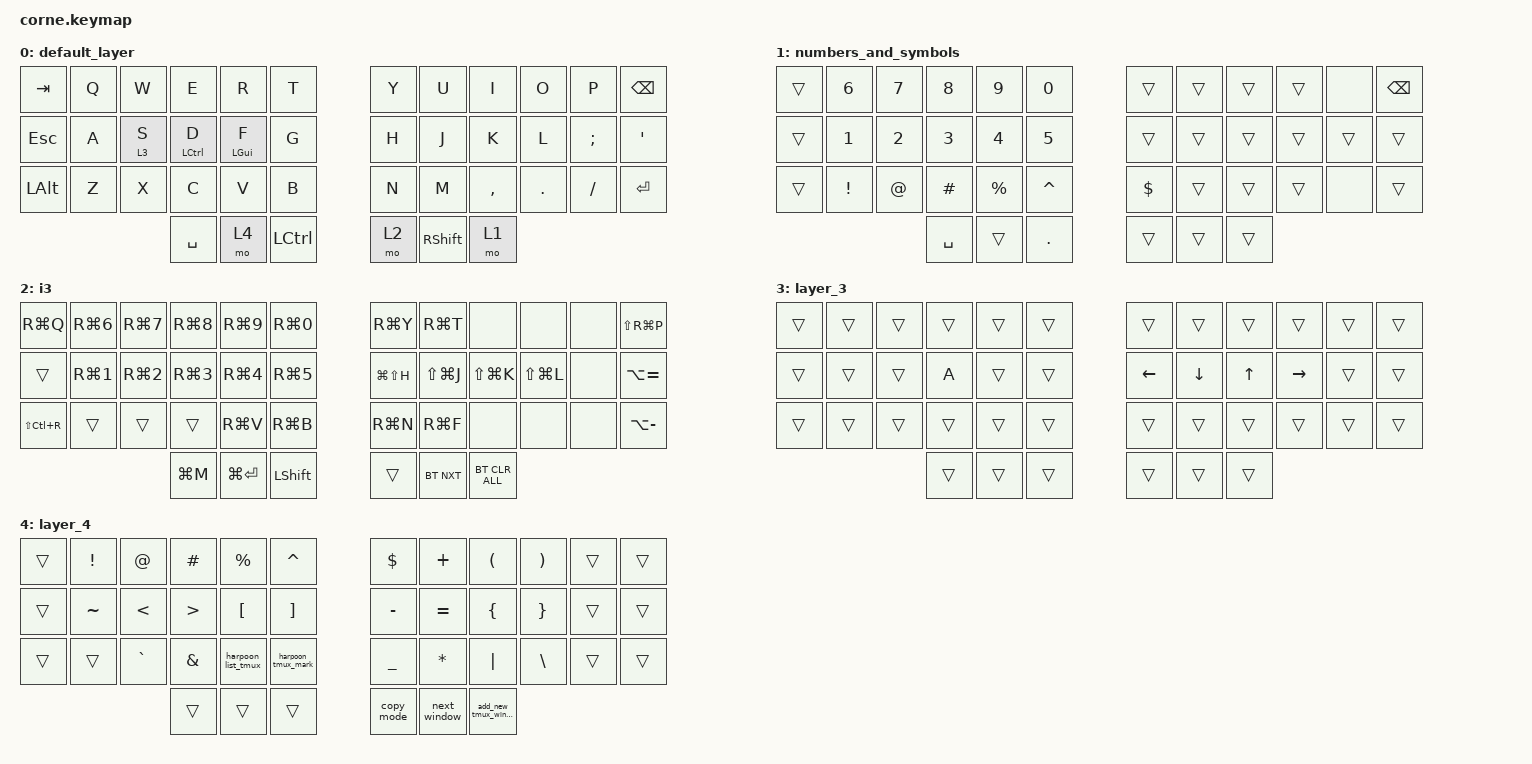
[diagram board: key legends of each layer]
/*
 * Copyright (c) 2020 The ZMK Contributors
 *
 * SPDX-License-Identifier: MIT
 */

#include <behaviors.dtsi>
#include <dt-bindings/zmk/bt.h>
#include <dt-bindings/zmk/keys.h>

&lt {
    tapping-term-ms = <280>;
    hold-trigger-key-positions = <18 19 20 21>;
    flavor = "tap-preferred";
};

&mt {
    tapping-term-ms = <280>;
    hold-trigger-key-positions = <18 19 20 21>;
    flavor = "tap-preferred";
};

/ {
    macros {
        copy_mode: copy_mode {
            compatible = "zmk,behavior-macro";
            #binding-cells = <0>;
            bindings = <&kp LC(A) &kp LEFT_BRACKET>;
        };

        add_new_tmux_window: add_new_tmux_window {
            compatible = "zmk,behavior-macro";
            #binding-cells = <0>;
            bindings = <&kp LC(A) &kp C>;
        };

        next_window: next_window {
            compatible = "zmk,behavior-macro";
            #binding-cells = <0>;
            bindings = <&kp LC(A) &kp N>;
        };

        harpoon_list_tmux: harpoon_list_tmux {
            compatible = "zmk,behavior-macro";
            #binding-cells = <0>;
            bindings = <&kp LC(A) &kp H>;
        };

        harpoon_tmux_mark: harpoon_tmux_mark {
            compatible = "zmk,behavior-macro";
            #binding-cells = <0>;
            bindings = <&kp LC(A) &kp M>;
        };
    };

    keymap {
        compatible = "zmk,keymap";

        default_layer {
            // -----------------------------------------------------------------------------------------
            // |  TAB |  Q  |  W  |  E  |  R  |  T  |   |  Y  |  U   |  I  |  O  |  P  | BSPC |
            // | CTRL |  A  |  S  |  D  |  F  |  G  |   |  H  |  J   |  K  |  L  |  ;  |  '   |
            // | SHFT |  Z  |  X  |  C  |  V  |  B  |   |  N  |  M   |  ,  |  .  |  /  | ESC  |
            //                    | GUI | LWR | SPC |   | ENT | RSE  | ALT |

            bindings = <
&kp TAB       &kp Q  &kp W    &kp E               &kp R           &kp T               &kp Y  &kp U            &kp I      &kp O    &kp P     &kp BSPC
&kp ESCAPE    &kp A  &lt 3 S  &mt LEFT_CONTROL D  &mt LEFT_GUI F  &kp G               &kp H  &kp J            &kp K      &kp L    &kp SEMI  &kp SQT
&kp LEFT_ALT  &kp Z  &kp X    &kp C               &kp V           &kp B               &kp N  &kp M            &kp COMMA  &kp DOT  &kp FSLH  &kp ENTER
                              &kp SPACE           &mo 4           &kp LEFT_CONTROL    &mo 2  &kp RIGHT_SHIFT  &mo 1
            >;
        };

        numbers_and_symbols {
            // -----------------------------------------------------------------------------------------
            // |  TAB |  1  |  2  |  3  |  4  |  5  |   |  6  |  7  |  8  |  9  |  0  | BSPC |
            // | BTCLR| BT1 | BT2 | BT3 | BT4 | BT5 |   | LFT | DWN |  UP | RGT |     |      |
            // | SHFT |     |     |     |     |     |   |     |     |     |     |     |      |
            //                    | GUI |     | SPC |   | ENT |     | ALT |

            bindings = <
&trans  &kp NUMBER_6     &kp NUMBER_7  &kp NUMBER_8  &kp NUMBER_9  &kp NUMBER_0    &trans      &trans  &trans  &trans  &none   &kp BSPC
&trans  &kp NUMBER_1     &kp NUMBER_2  &kp NUMBER_3  &kp NUMBER_4  &kp NUMBER_5    &trans      &trans  &trans  &trans  &trans  &trans
&trans  &kp EXCLAMATION  &kp AT_SIGN   &kp HASH      &kp PERCENT   &kp CARET       &kp DOLLAR  &trans  &trans  &trans  &none   &trans
                                       &kp SPACE     &trans        &kp DOT         &trans      &trans  &trans
            >;
        };

        i3 {
            bindings = <
&kp RG(Q)      &kp RG(NUMBER_6)  &kp RG(NUMBER_7)  &kp RG(NUMBER_8)  &kp RG(NUMBER_9)  &kp RG(NUMBER_0)    &kp RG(Y)      &kp RG(T)      &none           &none          &none  &kp LS(RG(P))
&trans         &kp RG(NUMBER_1)  &kp RG(NUMBER_2)  &kp RG(NUMBER_3)  &kp RG(NUMBER_4)  &kp RG(N5)          &kp LG(LS(H))  &kp LS(LG(J))  &kp LS(LG(K))   &kp LS(LG(L))  &none  &kp LA(EQUAL)
&kp LS(LC(R))  &trans            &trans            &trans            &kp RG(V)         &kp RG(B)           &kp RG(N)      &kp RG(F)      &none           &none          &none  &kp LA(MINUS)
                                                   &kp LG(M)         &kp LG(ENTER)     &kp LEFT_SHIFT      &trans         &bt BT_NXT     &bt BT_CLR_ALL
            >;
        };

        layer_3 {
            bindings = <
&trans  &trans  &trans  &trans  &trans  &trans    &trans          &trans          &trans        &trans           &trans  &trans
&trans  &trans  &trans  &kp A   &trans  &trans    &kp LEFT_ARROW  &kp DOWN_ARROW  &kp UP_ARROW  &kp RIGHT_ARROW  &trans  &trans
&trans  &trans  &trans  &trans  &trans  &trans    &trans          &trans          &trans        &trans           &trans  &trans
                        &trans  &trans  &trans    &trans          &trans          &trans
            >;
        };

        layer_4 {
            bindings = <
&trans  &kp EXCLAMATION  &kp AT         &kp HASH          &kp PERCENT         &kp CARET             &kp DOLLAR      &kp PLUS      &kp LEFT_PARENTHESIS  &kp RIGHT_PARENTHESIS  &trans  &trans
&trans  &kp TILDE        &kp LESS_THAN  &kp GREATER_THAN  &kp LEFT_BRACKET    &kp RIGHT_BRACKET     &kp MINUS       &kp EQUAL     &kp LEFT_BRACE        &kp RIGHT_BRACE        &trans  &trans
&trans  &trans           &kp GRAVE      &kp AMPS          &harpoon_list_tmux  &harpoon_tmux_mark    &kp UNDERSCORE  &kp ASTERISK  &kp PIPE              &kp BACKSLASH          &trans  &trans
                                        &trans            &trans              &trans                &copy_mode      &next_window  &add_new_tmux_window
            >;
        };
    };
};
